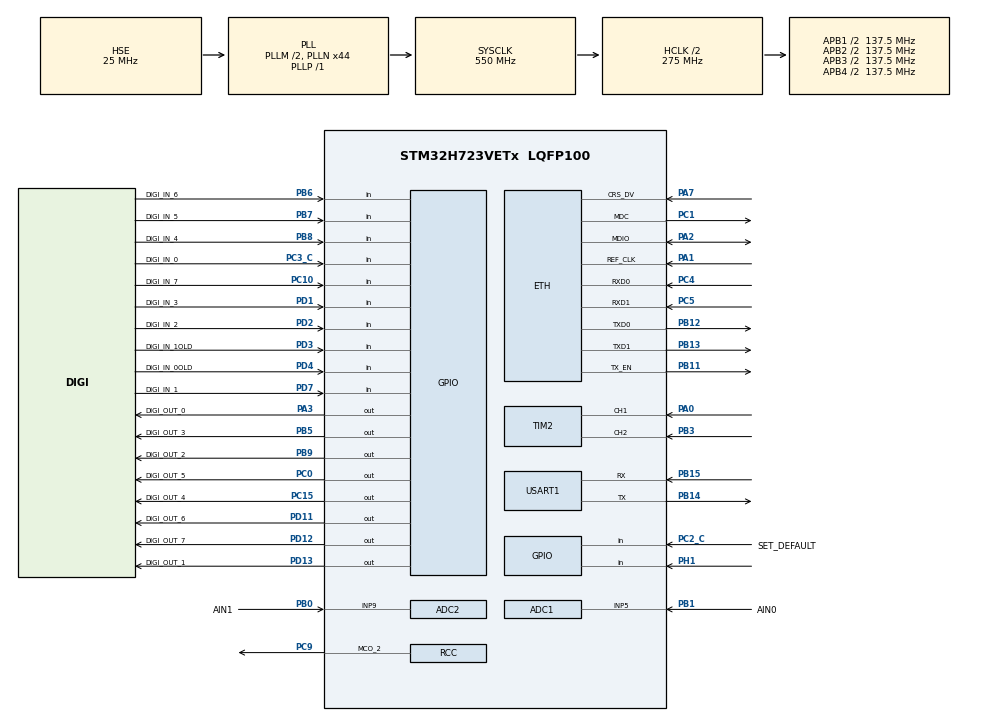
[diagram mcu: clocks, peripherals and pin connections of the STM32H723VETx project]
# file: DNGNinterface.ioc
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ADC1.Channel-2\#ChannelRegularConversion=ADC_CHANNEL_5
ADC1.ClockPrescaler=ADC_CLOCK_ASYNC_DIV4
ADC1.NbrOfConversionFlag=1
ADC1.OffsetNumber-2\#ChannelRegularConversion=ADC_OFFSET_NONE
ADC1.OffsetSignedSaturation-2\#ChannelRegularConversion=DISABLE
ADC1.Rank-2\#ChannelRegularConversion=1
ADC1.SamplingTime-2\#ChannelRegularConversion=ADC_SAMPLETIME_1CYCLE_5
ADC1.master=1
ADC2.Channel-0\#ChannelRegularConversion=ADC_CHANNEL_9
ADC2.ClockPrescaler=ADC_CLOCK_ASYNC_DIV4
ADC2.NbrOfConversionFlag=1
ADC2.OffsetNumber-0\#ChannelRegularConversion=ADC_OFFSET_NONE
ADC2.OffsetSignedSaturation-0\#ChannelRegularConversion=DISABLE
ADC2.Rank-0\#ChannelRegularConversion=1
ADC2.SamplingTime-0\#ChannelRegularConversion=ADC_SAMPLETIME_1CYCLE_5
CORTEX_M7.AccessPermission_S-Cortex_Memory_Protection_Unit_Region1_Settings_S=MPU_REGION_FULL_ACCESS
CORTEX_M7.AccessPermission_S-Cortex_Memory_Protection_Unit_Region2_Settings_S=MPU_REGION_FULL_ACCESS
CORTEX_M7.BaseAddress_S-Cortex_Memory_Protection_Unit_Region1_Settings_S=0x30000000
CORTEX_M7.BaseAddress_S-Cortex_Memory_Protection_Unit_Region2_Settings_S=0x30004000
CORTEX_M7.CPU_DCache=Enabled
CORTEX_M7.CPU_ICache=Enabled
CORTEX_M7.DisableExec_S-Cortex_Memory_Protection_Unit_Region1_Settings_S=MPU_INSTRUCTION_ACCESS_ENABLE
CORTEX_M7.DisableExec_S-Cortex_Memory_Protection_Unit_Region2_Settings_S=MPU_INSTRUCTION_ACCESS_DISABLE
CORTEX_M7.Enable_S-Cortex_Memory_Protection_Unit_Region1_Settings_S=MPU_REGION_ENABLE
CORTEX_M7.Enable_S-Cortex_Memory_Protection_Unit_Region2_Settings_S=MPU_REGION_ENABLE
CORTEX_M7.IsBufferable_S-Cortex_Memory_Protection_Unit_Region1_Settings_S=MPU_ACCESS_BUFFERABLE
CORTEX_M7.IsBufferable_S-Cortex_Memory_Protection_Unit_Region2_Settings_S=MPU_ACCESS_NOT_BUFFERABLE
CORTEX_M7.IsShareable_S-Cortex_Memory_Protection_Unit_Region2_Settings_S=MPU_ACCESS_SHAREABLE
CORTEX_M7.Size_S-Cortex_Memory_Protection_Unit_Region1_Settings_S=MPU_REGION_SIZE_1KB
CORTEX_M7.Size_S-Cortex_Memory_Protection_Unit_Region2_Settings_S=MPU_REGION_SIZE_16KB
CORTEX_M7.TypeExtField_S-Cortex_Memory_Protection_Unit_Region1_Settings_S=MPU_TEX_LEVEL1
CORTEX_M7.default_mode_Activation=1
ETH.MediaInterface=HAL_ETH_RMII_MODE
LPTIM1.ClockPrescaler=LPTIM_PRESCALER_DIV32
LPTIM5.ClockPrescaler=LPTIM_PRESCALER_DIV32
LWIP.BSP.number=1
LWIP.ETH_RX_BUFFER_CNT=10
LWIP.GATEWAY_ADDRESS=255.255.255.000
LWIP.IP_ADDRESS=192.168.002.253
LWIP.LWIP_DBG_MIN_LEVEL=LWIP_DBG_LEVEL_SERIOUS
LWIP.LWIP_DHCP=0
LWIP.LWIP_DISABLE_MEMP_SANITY_CHECKS=0
LWIP.LWIP_DISABLE_TCP_SANITY_CHECKS=0
LWIP.LWIP_HTTPD=1
LWIP.LWIP_RAM_HEAP_POINTER=0x30004000
LWIP.LWIP_TIMERS=1
LWIP.LWIP_UDP=1
LWIP.MEM_SIZE=15360
LWIP.NETMASK_ADDRESS=255.255.255.000
LWIP.Version=v2.1.2_Cube
LWIP0.BSP.STBoard=false
LWIP0.BSP.api=BSP_COMPONENT_DRIVER
LWIP0.BSP.component=LAN8742
LWIP0.BSP.instance=LAN8742
LWIP0.BSP.name=Driver_PHY
LWIP0.BSP.semaphore=S_LAN8742
LWIP0.BSP.solution=LAN8742
Mcu.Family=STM32H7
Mcu.Name=STM32H723VETx
Mcu.Package=LQFP100
NVIC.PriorityGroup=NVIC_PRIORITYGROUP_4
NVIC.TIM3_IRQn=true\:0\:0\:false\:false\:true\:true\:true\:true
NVIC.TIM5_IRQn=true\:0\:0\:false\:false\:true\:true\:true\:true
NVIC.TIM6_DAC_IRQn=true\:0\:0\:false\:false\:true\:true\:true\:true
PA0.GPIO_PuPd=GPIO_PULLDOWN
PA0.Signal=S_TIM2_CH1_ETR
PA1.GPIO_Speed=GPIO_SPEED_FREQ_VERY_HIGH
PA1.Mode=RMII
PA1.Signal=ETH_REF_CLK
PA13(JTMS/SWDIO).Mode=Serial_Wire
PA13(JTMS/SWDIO).Signal=DEBUG_JTMS-SWDIO
PA14(JTCK/SWCLK).Mode=Serial_Wire
PA14(JTCK/SWCLK).Signal=DEBUG_JTCK-SWCLK
PA2.GPIO_Speed=GPIO_SPEED_FREQ_VERY_HIGH
PA2.Mode=RMII
PA2.Signal=ETH_MDIO
PA3.GPIO_Label=DIGI_OUT_0
PA3.GPIO_PuPd=GPIO_PULLDOWN
PA3.PinState=GPIO_PIN_SET
PA3.Signal=GPIO_Output
PA7.GPIO_Speed=GPIO_SPEED_FREQ_VERY_HIGH
PA7.Mode=RMII
PA7.Signal=ETH_CRS_DV
PB0.GPIO_Label=AIN1
PB0.Signal=ADCx_INP9
PB1.GPIO_Label=AIN0
PB1.Signal=ADCx_INP5
PB10.Signal=ETH_RX_ER
PB11.GPIO_Speed=GPIO_SPEED_FREQ_VERY_HIGH
PB11.Mode=RMII
PB11.Signal=ETH_TX_EN
PB12.GPIO_Speed=GPIO_SPEED_FREQ_VERY_HIGH
PB12.Mode=RMII
PB12.Signal=ETH_TXD0
PB13.GPIO_Speed=GPIO_SPEED_FREQ_VERY_HIGH
PB13.Mode=RMII
PB13.Signal=ETH_TXD1
PB14.Mode=Asynchronous
PB14.Signal=USART1_TX
PB15.Mode=Asynchronous
PB15.Signal=USART1_RX
PB3(JTDO/TRACESWO).GPIO_PuPd=GPIO_PULLDOWN
PB3(JTDO/TRACESWO).Signal=S_TIM2_CH2
PB5.GPIO_Label=DIGI_OUT_3
PB5.GPIO_PuPd=GPIO_PULLDOWN
PB5.Signal=GPIO_Output
PB6.GPIO_Label=DIGI_IN_6
PB6.GPIO_PuPd=GPIO_PULLDOWN
PB6.Signal=GPIO_Input
PB7.GPIO_Label=DIGI_IN_5
PB7.GPIO_PuPd=GPIO_PULLDOWN
PB7.Signal=GPIO_Input
PB8.GPIO_Label=DIGI_IN_4
PB8.GPIO_PuPd=GPIO_PULLDOWN
PB8.Signal=GPIO_Input
PB9.GPIO_Label=DIGI_OUT_2
PB9.GPIO_PuPd=GPIO_PULLDOWN
PB9.Signal=GPIO_Output
PC0.GPIO_Label=DIGI_OUT_5
PC0.GPIO_PuPd=GPIO_PULLDOWN
PC0.Signal=GPIO_Output
PC1.GPIO_Speed=GPIO_SPEED_FREQ_VERY_HIGH
PC1.Mode=RMII
PC1.Signal=ETH_MDC
PC10.GPIO_Label=DIGI_IN_7
PC10.GPIO_PuPd=GPIO_PULLDOWN
PC10.Signal=GPIO_Input
PC15-OSC32_OUT.GPIO_Label=DIGI_OUT_4
PC15-OSC32_OUT.GPIO_ModeDefaultOutputPP=GPIO_MODE_OUTPUT_PP
PC15-OSC32_OUT.GPIO_PuPd=GPIO_PULLDOWN
PC15-OSC32_OUT.Signal=GPIO_Output
PC2_C.GPIO_Label=SET_DEFAULT
PC2_C.GPIO_PuPd=GPIO_PULLDOWN
PC2_C.Signal=GPIO_Input
PC3_C.GPIO_Label=DIGI_IN_0
PC3_C.GPIO_PuPd=GPIO_PULLDOWN
PC3_C.Signal=GPIO_Input
PC4.GPIO_Speed=GPIO_SPEED_FREQ_VERY_HIGH
PC4.Mode=RMII
PC4.Signal=ETH_RXD0
PC5.GPIO_Speed=GPIO_SPEED_FREQ_VERY_HIGH
PC5.Mode=RMII
PC5.Signal=ETH_RXD1
PC9.Mode=Clock-out-2
PC9.Signal=RCC_MCO_2
PD1.GPIO_Label=DIGI_IN_3
PD1.GPIO_PuPd=GPIO_PULLDOWN
PD1.Signal=GPIO_Input
PD11.GPIO_Label=DIGI_OUT_6
PD11.GPIO_PuPd=GPIO_PULLDOWN
PD11.PinState=GPIO_PIN_RESET
PD11.Signal=GPIO_Output
PD12.GPIO_Label=DIGI_OUT_7
PD12.GPIO_PuPd=GPIO_PULLDOWN
PD12.Signal=GPIO_Output
PD13.GPIO_Label=DIGI_OUT_1
PD13.GPIO_PuPd=GPIO_PULLDOWN
PD13.PinState=GPIO_PIN_SET
PD13.Signal=GPIO_Output
PD2.GPIO_Label=DIGI_IN_2
PD2.GPIO_PuPd=GPIO_PULLDOWN
PD2.Signal=GPIO_Input
PD3.GPIO_Label=DIGI_IN_1OLD
PD3.GPIO_PuPd=GPIO_PULLDOWN
PD3.Signal=GPIO_Input
PD4.GPIO_Label=DIGI_IN_0OLD
PD4.GPIO_PuPd=GPIO_PULLDOWN
PD4.Signal=GPIO_Input
PD7.GPIO_Label=DIGI_IN_1
PD7.GPIO_PuPd=GPIO_PULLDOWN
PD7.Signal=GPIO_Input
PH0-OSC_IN.Mode=HSE-External-Clock-Source
PH0-OSC_IN.Signal=RCC_OSC_IN
PH1-OSC_OUT.Signal=GPIO_Input
ProjectManager.HeapSize=0x1000
ProjectManager.StackSize=0x1000
ProjectManager.TargetToolchain=STM32CubeIDE
RCC.ADCCLockSelection=RCC_ADCCLKSOURCE_CLKP
RCC.ADCFreq_Value=64000000
RCC.APB1Freq_Value=137500000
RCC.APB2Freq_Value=137500000
RCC.APB3Freq_Value=137500000
RCC.APB4Freq_Value=137500000
RCC.CortexFreq_Value=550000000
RCC.D1PPRE=RCC_APB3_DIV2
RCC.D2PPRE1=RCC_APB1_DIV2
RCC.D2PPRE2=RCC_APB2_DIV2
RCC.D3PPRE=RCC_APB4_DIV2
RCC.DIVM1=2
RCC.DIVM2=4
RCC.DIVN1=44
RCC.DIVN2=12
RCC.DIVP1=1
RCC.HCLKFreq_Value=275000000
RCC.HPRE=RCC_HCLK_DIV2
RCC.HSE_VALUE=25000000
RCC.LPTIM1CLockSelection=RCC_LPTIM1CLKSOURCE_CLKP
RCC.LPTIM345CLockSelection=RCC_LPTIM345CLKSOURCE_CLKP
RCC.PLL1_VCO_SEL-AdvancedSettings=RCC_PLL1VCOWIDE
RCC.PLL2FRACN=0
RCC.PLL2_VCO_SEL-AdvancedSettings=RCC_PLL2VCOMEDIUM
RCC.PLL3_VCO_SEL-AdvancedSettings=RCC_PLL3VCOWIDE
RCC.PLLFRACN=0
RCC.PLLSourceVirtual=RCC_PLLSOURCE_HSE
RCC.SYSCLKFreq_VALUE=550000000
RCC.SYSCLKSource=RCC_SYSCLKSOURCE_PLLCLK
RCC.USART16CLockSelection=RCC_USART16910CLKSOURCE_HSI
RCC.USBFreq_Value=275000000
SH.ADCx_INP5.0=ADC1_INP5,IN5-Single-Ended
SH.ADCx_INP9.0=ADC2_INP9,IN9-Single-Ended
SH.S_TIM2_CH1_ETR.0=TIM2_CH1,Encoder_Interface
SH.S_TIM2_CH2.0=TIM2_CH2,Encoder_Interface
TIM3.AutoReloadPreload=TIM_AUTORELOAD_PRELOAD_ENABLE
TIM3.ClockDivision=TIM_CLOCKDIVISION_DIV1
TIM3.Period=332
TIM3.Prescaler=13749
TIM5.Period=3999
TIM5.Prescaler=68
TIM6.AutoReloadPreload=TIM_AUTORELOAD_PRELOAD_ENABLE
TIM6.Prescaler=27
USART1.VirtualMode-Asynchronous=VM_ASYNC
VP_LPTIM1_VS_LPTIM_counterModeInternalClock.Mode=Counts__internal_clock_event_00
VP_LPTIM5_VS_LPTIM_counterModeInternalClock.Mode=Counts__internal_clock_event_00
VP_LWIP_VS_Enabled.Mode=Enabled
VP_MEMORYMAP_VS_MEMORYMAP.Mode=CurAppReg
VP_PWR_V_PVD_IN.Mode=Mode_PVD_Int
VP_TIM2_VS_OPM.Mode=OPM_bit
VP_TIM3_VS_ClockSourceINT.Mode=Internal
VP_TIM5_VS_ClockSourceINT.Mode=Internal
VP_TIM6_VS_ClockSourceINT.Mode=Enable_Timer
VREF+.Mode=InternalMode
VREF+.Signal=VREFBUF_OUT
VREFBUF.VoltageScaling=SYSCFG_VREFBUF_VOLTAGE_SCALE2
board=custom

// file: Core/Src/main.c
/* USER CODE BEGIN Header */
/**
  ******************************************************************************
  * @file           : main.c
  * @brief          : Main program body
  ******************************************************************************
  * @attention
  *
  * Copyright (c) 2025 STMicroelectronics.
  * All rights reserved.
  *
  * This software is licensed under terms that can be found in the LICENSE file
  * in the root directory of this software component.
  * If no LICENSE file comes with this software, it is provided AS-IS.
  *
  ******************************************************************************
  */
/* USER CODE END Header */
#include "main.h"
#include "lwip.h"

/* USER CODE BEGIN Includes */
#include <string.h>

#include "main_loop.h"
#include "network.h"
#include "debug.h"
#include "flash_storage.h"
#include "main_loop.h"
#include "hardware.h"
#if defined(ENABLE_MQTT) || defined(ENABLE_MODBUS)
#include "F:\wxWidgets-3\demos\OpenAPC\libsmartfactory\libsmartfactory.h"
#endif
#include "oapc_libio.h"
#include "assert.h"
#include "network_mqtt.h"
#include "httpd.h"
#include "stepper.h"
/* USER CODE END Includes */

ADC_HandleTypeDef hadc1;
ADC_HandleTypeDef hadc2;

LPTIM_HandleTypeDef hlptim1;
LPTIM_HandleTypeDef hlptim5;

TIM_HandleTypeDef htim2;
TIM_HandleTypeDef htim3;
TIM_HandleTypeDef htim5;
TIM_HandleTypeDef htim6;

UART_HandleTypeDef huart1;

void SystemClock_Config(void);
void PeriphCommonClock_Config(void);
static void MPU_Config(void);
static void MX_GPIO_Init(void);
static void MX_ADC1_Init(void);
static void MX_ADC2_Init(void);
static void MX_LPTIM1_Init(void);
static void MX_LPTIM5_Init(void);
static void MX_USART1_UART_Init(void);
static void MX_TIM2_Init(void);
static void MX_TIM3_Init(void);
static void MX_TIM5_Init(void);
static void MX_TIM6_Init(void);

/* USER CODE BEGIN 0 */
static uint8_t modbus_pwm_set_cb(const uint16_t num,const uint32_t freq,const uint32_t pulse,const void *data)
{
   switch (num)
   {
      case 100:
         if (hw_pwm_set(0,freq,pulse)==HAL_OK) return 1;
         break;
      case 104:
         if (hw_pwm_set(1,freq,pulse)==HAL_OK) return 1;
         break;
   }
   return 0;
}

static uint8_t modbus_digi_set_cb(const uint16_t num,const uint8_t val,const void *data)
{
   switch (num)
   {
      case 0:
         if (val) globalState.digiOut|=0x01;
         else globalState.digiOut&=~0x01;
         break;
      case 1:
         if (val) globalState.digiOut|=0x02;
         else globalState.digiOut&=~0x02;
         break;
      case 2:
         if (val) globalState.digiOut|=0x04;
         else globalState.digiOut&=~0x04;
         break;
      case 3:
         if (val) globalState.digiOut|=0x08;
         else globalState.digiOut&=~0x08;
         break;
      case 4:
         if (val) globalState.digiOut|=0x10;
         else globalState.digiOut&=~0x10;
         break;
      case 5:
         if (val) globalState.digiOut|=0x20;
         else globalState.digiOut&=~0x20;
         break;
      case 6:
         if (val) globalState.digiOut|=0x40;
         else globalState.digiOut&=~0x40;
         break;
      case 7:
         if (val) globalState.digiOut|=0x80;
         else globalState.digiOut&=~0x80;
         break;
      default:
         return 0;
   }
   hw_gpio_set(globalState.digiOut);
   return 1;
}

static uint8_t modbus_digi_get_cb(const uint16_t num,uint8_t *val,const void *data)
{
   switch (num)
   {
      case 0:
         if ((globalState.digiOut & 0x01)==0x01) *val=1;
         else *val=0;
         break;
      case 1:
         if ((globalState.digiOut & 0x02)==0x02) *val=1;
         else *val=0;
         break;
      case 2:
         if ((globalState.digiOut & 0x04)==0x04) *val=1;
         else *val=0;
         break;
      case 3:
         if ((globalState.digiOut & 0x08)==0x08) *val=1;
         else *val=0;
         break;
      case 4:
         if ((globalState.digiOut & 0x10)==0x10) *val=1;
         else *val=0;
         break;
      case 5:
         if ((globalState.digiOut & 0x20)==0x20) *val=1;
         else *val=0;
         break;
      case 6:
         if ((globalState.digiOut & 0x40)==0x40) *val=1;
         else *val=0;
         break;
      case 7:
         if ((globalState.digiOut & 0x80)==0x80) *val=1;
         else *val=0;
         break;

      case 10000:
         if ((globalState.digiINState & 0x01)==0x01) *val=1;
         else *val=0;
         break;
      case 10001:
         if ((globalState.digiINState & 0x02)==0x02) *val=1;
         else *val=0;
         break;
      case 10002:
         if ((globalState.digiINState & 0x04)==0x04) *val=1;
         else *val=0;
         break;
      case 10003:
         if ((globalState.digiINState & 0x08)==0x08) *val=1;
         else *val=0;
         break;
      case 10004:
         if ((globalState.digiINState & 0x10)==0x10) *val=1;
         else *val=0;
         break;
      case 10005:
         if ((globalState.digiINState & 0x20)==0x20) *val=1;
         else *val=0;
         break;
      case 10006:
         if ((globalState.digiINState & 0x40)==0x40) *val=1;
         else *val=0;
         break;
      case 10007:
         if ((globalState.digiINState & 0x80)==0x80) *val=1;
         else *val=0;
         break;
      default:
         return 0;
   }
   return 1;
}

static uint8_t modbus_ana_get_cb(const uint16_t num,uint16_t *val,const void *data)
{
   switch (num)
   {
      case 0:
         *val=globalState.ain0state;
         break;
      case 1:
         *val=globalState.ain1state;
         break;
      default:
         return 0;
   }
   return 1;
}

/* USER CODE END 0 */

int main(void)
{

  /* MPU Configuration--------------------------------------------------------*/
  MPU_Config();

  /* Enable the CPU Cache */

  /* Enable I-Cache---------------------------------------------------------*/
  SCB_EnableICache();

  /* Enable D-Cache---------------------------------------------------------*/
  SCB_EnableDCache();

  /* MCU Configuration--------------------------------------------------------*/

  /* Reset of all peripherals, Initializes the Flash interface and the Systick. */
  HAL_Init();

  /* Configure the system clock */
  SystemClock_Config();

  /* Configure the peripherals common clocks */
  PeriphCommonClock_Config();

  /* Initialize all configured peripherals */
  MX_GPIO_Init();
  MX_ADC1_Init();
  MX_ADC2_Init();
  MX_LPTIM1_Init();
  MX_LPTIM5_Init();
  MX_USART1_UART_Init();
  MX_TIM2_Init();
  MX_TIM3_Init();
  MX_TIM5_Init();
  MX_TIM6_Init();
  /* USER CODE BEGIN 2 */
  logInit();

   {
      struct global_config *loadConfig;

      loadConfig=(struct global_config*)Flash_Storage_Read(sizeof(struct global_config),CONFIG_STRUCT_ID);
      if ((loadConfig) && (loadConfig->id==CONFIG_STRUCT_ID) && (loadConfig->ana0fac>0) && (loadConfig->ana1fac>0))
      {
         memcpy(&globalConfig,loadConfig,sizeof(struct global_config));
      }
   }
   if (HAL_GPIO_ReadPin(SET_DEFAULT_GPIO_Port,SET_DEFAULT_Pin)==GPIO_PIN_SET) // restore: keep the settings except the IP
   {
      globalConfig.ip.addr=STATIC_IP_ADDRESS_PORT1;
      globalConfig.gw.addr=STATIC_GW_ADDRESS_PORT1;
      globalConfig.nm.addr=STATIC_NM_ADDRESS_PORT1;
   }
   globalState.digiOut=globalConfig.digiInit;
   hw_gpio_set(globalState.digiOut);
   MX_LWIP_Init();

#ifdef ENABLE_TELNET
  if ((globalConfig.flags & CONFIG_FLAG_DISABLE_TELNET)==0)
   network1_init();
#endif
#ifdef ENABLE_MODBUS
  if ((globalConfig.flags & CONFIG_FLAG_DISABLE_MODBUS)==0)
  {
     globalState.MODBUSInst=sf_modbus_create_instance(0,globalConfig.rwip);
     if (globalState.MODBUSInst)
     {
        if (sf_modbus_open_connections(globalState.MODBUSInst)!=OAPC_OK)
        {
           logpf(true,"MODBUS init failed");
        }
        else
        {
           sf_modbus_set_digi_set_callback(globalState.MODBUSInst,modbus_digi_set_cb,NULL);
           sf_modbus_set_pwm_set_callback(globalState.MODBUSInst,modbus_pwm_set_cb,NULL);
           sf_modbus_set_digi_get_callback(globalState.MODBUSInst,modbus_digi_get_cb,NULL);
           sf_modbus_set_ana_get_callback(globalState.MODBUSInst,modbus_ana_get_cb,NULL);
        }
     }
  }
#endif
#ifdef ENABLE_MQTT
  snprintf(globalState.mqttMachineID,20,"%ld.%ld.%ld.%ld",(globalConfig.ip.addr & 0xFF000000)>>24,
                                                      (globalConfig.ip.addr & 0x00FF0000)>>16,
                                                      (globalConfig.ip.addr & 0x0000FF00)>>8,
                                                      (globalConfig.ip.addr & 0x000000FF)
                                                      );
  if ((globalConfig.flags & CONFIG_FLAG_DISABLE_MQTT)==0)
  {

     if (!lib_mqtt_start(globalConfig.mqttIP,globalConfig.mqttPort,globalState.mqttMachineID,globalConfig.mqttUser,globalConfig.mqttPwd))
     {
        logpf(true,"Initial MQTT connect failed");
     }
  }
#endif
#ifdef ENABLE_REST
  httpd_init();
#endif
  HAL_ADCEx_Calibration_Start(&hadc1,ADC_CALIB_OFFSET_LINEARITY,ADC_SINGLE_ENDED);
  HAL_ADCEx_Calibration_Start(&hadc2,ADC_CALIB_OFFSET_LINEARITY,ADC_SINGLE_ENDED);

  HAL_ADCEx_Calibration_Start(&hadc1,ADC_CALIB_OFFSET,ADC_SINGLE_ENDED);
  HAL_ADCEx_Calibration_Start(&hadc2,ADC_CALIB_OFFSET,ADC_SINGLE_ENDED);
  /* todo: repeat it later from time to time "when conditions change" */

  HAL_ADC_Start(&hadc1);
  HAL_ADC_Start(&hadc2);
  /* USER CODE END 2 */

  /* Infinite loop */
  /* USER CODE BEGIN WHILE */
  stepper_init();
  main_loop();
  while (1)
  {
    /* USER CODE END WHILE */

  }
}

void SystemClock_Config(void)
{
  RCC_OscInitTypeDef RCC_OscInitStruct = {0};
  RCC_ClkInitTypeDef RCC_ClkInitStruct = {0};

  /** Supply configuration update enable
  */
  HAL_PWREx_ConfigSupply(PWR_LDO_SUPPLY);

  /** Configure the main internal regulator output voltage
  */
  __HAL_PWR_VOLTAGESCALING_CONFIG(PWR_REGULATOR_VOLTAGE_SCALE0);

  while(!__HAL_PWR_GET_FLAG(PWR_FLAG_VOSRDY)) {}

  /** Initializes the RCC Oscillators according to the specified parameters
  * in the RCC_OscInitTypeDef structure.
  */
  RCC_OscInitStruct.OscillatorType = RCC_OSCILLATORTYPE_HSI|RCC_OSCILLATORTYPE_HSE;
  RCC_OscInitStruct.HSEState = RCC_HSE_BYPASS;
  RCC_OscInitStruct.HSIState = RCC_HSI_DIV1;
  RCC_OscInitStruct.HSICalibrationValue = 64;
  RCC_OscInitStruct.PLL.PLLState = RCC_PLL_ON;
  RCC_OscInitStruct.PLL.PLLSource = RCC_PLLSOURCE_HSE;
  RCC_OscInitStruct.PLL.PLLM = 2;
  RCC_OscInitStruct.PLL.PLLN = 44;
  RCC_OscInitStruct.PLL.PLLP = 1;
  RCC_OscInitStruct.PLL.PLLQ = 2;
  RCC_OscInitStruct.PLL.PLLR = 2;
  RCC_OscInitStruct.PLL.PLLRGE = RCC_PLL1VCIRANGE_3;
  RCC_OscInitStruct.PLL.PLLVCOSEL = RCC_PLL1VCOWIDE;
  RCC_OscInitStruct.PLL.PLLFRACN = 0;
  if (HAL_RCC_OscConfig(&RCC_OscInitStruct) != HAL_OK)
  {
    Error_Handler();
  }

  /** Initializes the CPU, AHB and APB buses clocks
  */
  RCC_ClkInitStruct.ClockType = RCC_CLOCKTYPE_HCLK|RCC_CLOCKTYPE_SYSCLK
                              |RCC_CLOCKTYPE_PCLK1|RCC_CLOCKTYPE_PCLK2
                              |RCC_CLOCKTYPE_D3PCLK1|RCC_CLOCKTYPE_D1PCLK1;
  RCC_ClkInitStruct.SYSCLKSource = RCC_SYSCLKSOURCE_PLLCLK;
  RCC_ClkInitStruct.SYSCLKDivider = RCC_SYSCLK_DIV1;
  RCC_ClkInitStruct.AHBCLKDivider = RCC_HCLK_DIV2;
  RCC_ClkInitStruct.APB3CLKDivider = RCC_APB3_DIV2;
  RCC_ClkInitStruct.APB1CLKDivider = RCC_APB1_DIV2;
  RCC_ClkInitStruct.APB2CLKDivider = RCC_APB2_DIV2;
  RCC_ClkInitStruct.APB4CLKDivider = RCC_APB4_DIV2;

  if (HAL_RCC_ClockConfig(&RCC_ClkInitStruct, FLASH_LATENCY_3) != HAL_OK)
  {
    Error_Handler();
  }
  HAL_RCC_MCOConfig(RCC_MCO2, RCC_MCO2SOURCE_SYSCLK, RCC_MCODIV_1);
}

void PeriphCommonClock_Config(void)
{
  RCC_PeriphCLKInitTypeDef PeriphClkInitStruct = {0};

  /** Initializes the peripherals clock
  */
  PeriphClkInitStruct.PeriphClockSelection = RCC_PERIPHCLK_CKPER;
  PeriphClkInitStruct.CkperClockSelection = RCC_CLKPSOURCE_HSI;
  if (HAL_RCCEx_PeriphCLKConfig(&PeriphClkInitStruct) != HAL_OK)
  {
    Error_Handler();
  }
}

static void MX_ADC1_Init(void)
{

  ADC_MultiModeTypeDef multimode = {0};
  ADC_ChannelConfTypeDef sConfig = {0};

  /** Common config
  */
  hadc1.Instance = ADC1;
  hadc1.Init.ClockPrescaler = ADC_CLOCK_ASYNC_DIV4;
  hadc1.Init.Resolution = ADC_RESOLUTION_16B;
  hadc1.Init.ScanConvMode = ADC_SCAN_DISABLE;
  hadc1.Init.EOCSelection = ADC_EOC_SINGLE_CONV;
  hadc1.Init.LowPowerAutoWait = DISABLE;
  hadc1.Init.ContinuousConvMode = DISABLE;
  hadc1.Init.NbrOfConversion = 1;
  hadc1.Init.DiscontinuousConvMode = DISABLE;
  hadc1.Init.ExternalTrigConv = ADC_SOFTWARE_START;
  hadc1.Init.ExternalTrigConvEdge = ADC_EXTERNALTRIGCONVEDGE_NONE;
  hadc1.Init.ConversionDataManagement = ADC_CONVERSIONDATA_DR;
  hadc1.Init.Overrun = ADC_OVR_DATA_PRESERVED;
  hadc1.Init.LeftBitShift = ADC_LEFTBITSHIFT_NONE;
  hadc1.Init.OversamplingMode = DISABLE;
  hadc1.Init.Oversampling.Ratio = 1;
  if (HAL_ADC_Init(&hadc1) != HAL_OK)
  {
    Error_Handler();
  }

  /** Configure the ADC multi-mode
  */
  multimode.Mode = ADC_MODE_INDEPENDENT;
  if (HAL_ADCEx_MultiModeConfigChannel(&hadc1, &multimode) != HAL_OK)
  {
    Error_Handler();
  }

  /** Configure Regular Channel
  */
  sConfig.Channel = ADC_CHANNEL_5;
  sConfig.Rank = ADC_REGULAR_RANK_1;
  sConfig.SamplingTime = ADC_SAMPLETIME_1CYCLE_5;
  sConfig.SingleDiff = ADC_SINGLE_ENDED;
  sConfig.OffsetNumber = ADC_OFFSET_NONE;
  sConfig.Offset = 0;
  sConfig.OffsetSignedSaturation = DISABLE;
  if (HAL_ADC_ConfigChannel(&hadc1, &sConfig) != HAL_OK)
  {
    Error_Handler();
  }

}

static void MX_ADC2_Init(void)
{

  ADC_ChannelConfTypeDef sConfig = {0};

  /** Common config
  */
  hadc2.Instance = ADC2;
  hadc2.Init.ClockPrescaler = ADC_CLOCK_ASYNC_DIV4;
  hadc2.Init.Resolution = ADC_RESOLUTION_16B;
  hadc2.Init.ScanConvMode = ADC_SCAN_DISABLE;
  hadc2.Init.EOCSelection = ADC_EOC_SINGLE_CONV;
  hadc2.Init.LowPowerAutoWait = DISABLE;
  hadc2.Init.ContinuousConvMode = DISABLE;
  hadc2.Init.NbrOfConversion = 1;
  hadc2.Init.DiscontinuousConvMode = DISABLE;
  hadc2.Init.ExternalTrigConv = ADC_SOFTWARE_START;
  hadc2.Init.ExternalTrigConvEdge = ADC_EXTERNALTRIGCONVEDGE_NONE;
  hadc2.Init.ConversionDataManagement = ADC_CONVERSIONDATA_DR;
  hadc2.Init.Overrun = ADC_OVR_DATA_PRESERVED;
  hadc2.Init.LeftBitShift = ADC_LEFTBITSHIFT_NONE;
  hadc2.Init.OversamplingMode = DISABLE;
  hadc2.Init.Oversampling.Ratio = 1;
  if (HAL_ADC_Init(&hadc2) != HAL_OK)
  {
    Error_Handler();
  }

  /** Configure Regular Channel
  */
  sConfig.Channel = ADC_CHANNEL_9;
  sConfig.Rank = ADC_REGULAR_RANK_1;
  sConfig.SamplingTime = ADC_SAMPLETIME_1CYCLE_5;
  sConfig.SingleDiff = ADC_SINGLE_ENDED;
  sConfig.OffsetNumber = ADC_OFFSET_NONE;
  sConfig.Offset = 0;
  sConfig.OffsetSignedSaturation = DISABLE;
  if (HAL_ADC_ConfigChannel(&hadc2, &sConfig) != HAL_OK)
  {
    Error_Handler();
  }

}

static void MX_LPTIM1_Init(void)
{

  hlptim1.Instance = LPTIM1;
  hlptim1.Init.Clock.Source = LPTIM_CLOCKSOURCE_APBCLOCK_LPOSC;
  hlptim1.Init.Clock.Prescaler = LPTIM_PRESCALER_DIV32;
  hlptim1.Init.Trigger.Source = LPTIM_TRIGSOURCE_SOFTWARE;
  hlptim1.Init.OutputPolarity = LPTIM_OUTPUTPOLARITY_HIGH;
  hlptim1.Init.UpdateMode = LPTIM_UPDATE_IMMEDIATE;
  hlptim1.Init.CounterSource = LPTIM_COUNTERSOURCE_INTERNAL;
  hlptim1.Init.Input1Source = LPTIM_INPUT1SOURCE_GPIO;
  hlptim1.Init.Input2Source = LPTIM_INPUT2SOURCE_GPIO;
  if (HAL_LPTIM_Init(&hlptim1) != HAL_OK)
  {
    Error_Handler();
  }

}

static void MX_LPTIM5_Init(void)
{

  hlptim5.Instance = LPTIM5;
  hlptim5.Init.Clock.Source = LPTIM_CLOCKSOURCE_APBCLOCK_LPOSC;
  hlptim5.Init.Clock.Prescaler = LPTIM_PRESCALER_DIV32;
  hlptim5.Init.Trigger.Source = LPTIM_TRIGSOURCE_SOFTWARE;
  hlptim5.Init.OutputPolarity = LPTIM_OUTPUTPOLARITY_HIGH;
  hlptim5.Init.UpdateMode = LPTIM_UPDATE_IMMEDIATE;
  hlptim5.Init.CounterSource = LPTIM_COUNTERSOURCE_INTERNAL;
  if (HAL_LPTIM_Init(&hlptim5) != HAL_OK)
  {
    Error_Handler();
  }

}

static void MX_TIM2_Init(void)
{

  TIM_Encoder_InitTypeDef sConfig = {0};
  TIM_MasterConfigTypeDef sMasterConfig = {0};

  htim2.Instance = TIM2;
  htim2.Init.Prescaler = 0;
  htim2.Init.CounterMode = TIM_COUNTERMODE_UP;
  htim2.Init.Period = 4294967295;
  htim2.Init.ClockDivision = TIM_CLOCKDIVISION_DIV1;
  htim2.Init.AutoReloadPreload = TIM_AUTORELOAD_PRELOAD_DISABLE;
  sConfig.EncoderMode = TIM_ENCODERMODE_TI1;
  sConfig.IC1Polarity = TIM_ICPOLARITY_RISING;
  sConfig.IC1Selection = TIM_ICSELECTION_DIRECTTI;
  sConfig.IC1Prescaler = TIM_ICPSC_DIV1;
  sConfig.IC1Filter = 0;
  sConfig.IC2Polarity = TIM_ICPOLARITY_RISING;
  sConfig.IC2Selection = TIM_ICSELECTION_DIRECTTI;
  sConfig.IC2Prescaler = TIM_ICPSC_DIV1;
  sConfig.IC2Filter = 0;
  if (HAL_TIM_Encoder_Init(&htim2, &sConfig) != HAL_OK)
  {
    Error_Handler();
  }
  if (HAL_TIM_OnePulse_Init(&htim2, TIM_OPMODE_SINGLE) != HAL_OK)
  {
    Error_Handler();
  }
  sMasterConfig.MasterOutputTrigger = TIM_TRGO_RESET;
  sMasterConfig.MasterSlaveMode = TIM_MASTERSLAVEMODE_DISABLE;
  if (HAL_TIMEx_MasterConfigSynchronization(&htim2, &sMasterConfig) != HAL_OK)
  {
    Error_Handler();
  }

}

static void MX_TIM3_Init(void)
{

  TIM_ClockConfigTypeDef sClockSourceConfig = {0};
  TIM_MasterConfigTypeDef sMasterConfig = {0};

  htim3.Instance = TIM3;
  htim3.Init.Prescaler = 13749;
  htim3.Init.CounterMode = TIM_COUNTERMODE_UP;
  htim3.Init.Period = 332;
  htim3.Init.ClockDivision = TIM_CLOCKDIVISION_DIV1;
  htim3.Init.AutoReloadPreload = TIM_AUTORELOAD_PRELOAD_ENABLE;
  if (HAL_TIM_Base_Init(&htim3) != HAL_OK)
  {
    Error_Handler();
  }
  sClockSourceConfig.ClockSource = TIM_CLOCKSOURCE_INTERNAL;
  if (HAL_TIM_ConfigClockSource(&htim3, &sClockSourceConfig) != HAL_OK)
  {
    Error_Handler();
  }
  sMasterConfig.MasterOutputTrigger = TIM_TRGO_RESET;
  sMasterConfig.MasterSlaveMode = TIM_MASTERSLAVEMODE_DISABLE;
  if (HAL_TIMEx_MasterConfigSynchronization(&htim3, &sMasterConfig) != HAL_OK)
  {
    Error_Handler();
  }

}

static void MX_TIM5_Init(void)
{

  TIM_ClockConfigTypeDef sClockSourceConfig = {0};
  TIM_MasterConfigTypeDef sMasterConfig = {0};

  htim5.Instance = TIM5;
  htim5.Init.Prescaler = 68;
  htim5.Init.CounterMode = TIM_COUNTERMODE_UP;
  htim5.Init.Period = 3999;
  htim5.Init.ClockDivision = TIM_CLOCKDIVISION_DIV1;
  htim5.Init.AutoReloadPreload = TIM_AUTORELOAD_PRELOAD_DISABLE;
  if (HAL_TIM_Base_Init(&htim5) != HAL_OK)
  {
    Error_Handler();
  }
  sClockSourceConfig.ClockSource = TIM_CLOCKSOURCE_INTERNAL;
  if (HAL_TIM_ConfigClockSource(&htim5, &sClockSourceConfig) != HAL_OK)
  {
    Error_Handler();
  }
  sMasterConfig.MasterOutputTrigger = TIM_TRGO_RESET;
  sMasterConfig.MasterSlaveMode = TIM_MASTERSLAVEMODE_DISABLE;
  if (HAL_TIMEx_MasterConfigSynchronization(&htim5, &sMasterConfig) != HAL_OK)
  {
    Error_Handler();
  }

}

static void MX_TIM6_Init(void)
{

  TIM_MasterConfigTypeDef sMasterConfig = {0};

  htim6.Instance = TIM6;
  htim6.Init.Prescaler = 27;
  htim6.Init.CounterMode = TIM_COUNTERMODE_UP;
  htim6.Init.Period = 65535;
  htim6.Init.AutoReloadPreload = TIM_AUTORELOAD_PRELOAD_ENABLE;
  if (HAL_TIM_Base_Init(&htim6) != HAL_OK)
  {
    Error_Handler();
  }
  sMasterConfig.MasterOutputTrigger = TIM_TRGO_RESET;
  sMasterConfig.MasterSlaveMode = TIM_MASTERSLAVEMODE_DISABLE;
  if (HAL_TIMEx_MasterConfigSynchronization(&htim6, &sMasterConfig) != HAL_OK)
  {
    Error_Handler();
  }

}

static void MX_USART1_UART_Init(void)
{

  huart1.Instance = USART1;
  huart1.Init.BaudRate = 115200;
  huart1.Init.WordLength = UART_WORDLENGTH_8B;
  huart1.Init.StopBits = UART_STOPBITS_1;
  huart1.Init.Parity = UART_PARITY_NONE;
  huart1.Init.Mode = UART_MODE_TX_RX;
  huart1.Init.HwFlowCtl = UART_HWCONTROL_NONE;
  huart1.Init.OverSampling = UART_OVERSAMPLING_16;
  huart1.Init.OneBitSampling = UART_ONE_BIT_SAMPLE_DISABLE;
  huart1.Init.ClockPrescaler = UART_PRESCALER_DIV1;
  huart1.AdvancedInit.AdvFeatureInit = UART_ADVFEATURE_NO_INIT;
  if (HAL_UART_Init(&huart1) != HAL_OK)
  {
    Error_Handler();
  }
  if (HAL_UARTEx_SetTxFifoThreshold(&huart1, UART_TXFIFO_THRESHOLD_1_8) != HAL_OK)
  {
    Error_Handler();
  }
  if (HAL_UARTEx_SetRxFifoThreshold(&huart1, UART_RXFIFO_THRESHOLD_1_8) != HAL_OK)
  {
    Error_Handler();
  }
  if (HAL_UARTEx_DisableFifoMode(&huart1) != HAL_OK)
  {
    Error_Handler();
  }

}

static void MX_GPIO_Init(void)
{
  GPIO_InitTypeDef GPIO_InitStruct = {0};

  /* GPIO Ports Clock Enable */
  __HAL_RCC_GPIOE_CLK_ENABLE();
  __HAL_RCC_GPIOC_CLK_ENABLE();
  __HAL_RCC_GPIOH_CLK_ENABLE();
  __HAL_RCC_GPIOA_CLK_ENABLE();
  __HAL_RCC_GPIOB_CLK_ENABLE();
  __HAL_RCC_GPIOD_CLK_ENABLE();

  /*Configure GPIO pin Output Level */
  HAL_GPIO_WritePin(GPIOC, DIGI_OUT_4_Pin|DIGI_OUT_5_Pin, GPIO_PIN_RESET);

  /*Configure GPIO pin Output Level */
  HAL_GPIO_WritePin(DIGI_OUT_0_GPIO_Port, DIGI_OUT_0_Pin, GPIO_PIN_SET);

  /*Configure GPIO pin Output Level */
  HAL_GPIO_WritePin(GPIOD, DIGI_OUT_6_Pin|DIGI_OUT_7_Pin, GPIO_PIN_RESET);
  HAL_GPIO_WritePin(GPIOD, DIGI_OUT_1_Pin, GPIO_PIN_SET);

  /*Configure GPIO pin Output Level */
  HAL_GPIO_WritePin(GPIOB, DIGI_OUT_3_Pin|DIGI_OUT_2_Pin, GPIO_PIN_RESET);

  /*Configure GPIO pins : PE2 PE3 PE4 PE5
                           PE6 PE7 PE8 PE9
                           PE10 PE11 PE12 PE13
                           PE14 PE15 PE0 PE1 */
  GPIO_InitStruct.Pin = GPIO_PIN_2|GPIO_PIN_3|GPIO_PIN_4|GPIO_PIN_5
                          |GPIO_PIN_6|GPIO_PIN_7|GPIO_PIN_8|GPIO_PIN_9
                          |GPIO_PIN_10|GPIO_PIN_11|GPIO_PIN_12|GPIO_PIN_13
                          |GPIO_PIN_14|GPIO_PIN_15|GPIO_PIN_0|GPIO_PIN_1;
  GPIO_InitStruct.Mode = GPIO_MODE_ANALOG;
  GPIO_InitStruct.Pull = GPIO_NOPULL;
  HAL_GPIO_Init(GPIOE, &GPIO_InitStruct);

  /*Configure GPIO pins : PC13 PC14 PC6 PC7
                           PC8 PC11 PC12 */
  GPIO_InitStruct.Pin = GPIO_PIN_13|GPIO_PIN_14|GPIO_PIN_6|GPIO_PIN_7
                          |GPIO_PIN_8|GPIO_PIN_11|GPIO_PIN_12;
  GPIO_InitStruct.Mode = GPIO_MODE_ANALOG;
  GPIO_InitStruct.Pull = GPIO_NOPULL;
  HAL_GPIO_Init(GPIOC, &GPIO_InitStruct);

  /*Configure GPIO pins : DIGI_OUT_4_Pin DIGI_OUT_5_Pin */
  GPIO_InitStruct.Pin = DIGI_OUT_4_Pin|DIGI_OUT_5_Pin;
  GPIO_InitStruct.Mode = GPIO_MODE_OUTPUT_PP;
  GPIO_InitStruct.Pull = GPIO_PULLDOWN;
  GPIO_InitStruct.Speed = GPIO_SPEED_FREQ_LOW;
  HAL_GPIO_Init(GPIOC, &GPIO_InitStruct);

  /*Configure GPIO pin : PH1 */
  GPIO_InitStruct.Pin = GPIO_PIN_1;
  GPIO_InitStruct.Mode = GPIO_MODE_INPUT;
  GPIO_InitStruct.Pull = GPIO_NOPULL;
  HAL_GPIO_Init(GPIOH, &GPIO_InitStruct);

  /*Configure GPIO pins : SET_DEFAULT_Pin DIGI_IN_0_Pin DIGI_IN_7_Pin */
  GPIO_InitStruct.Pin = SET_DEFAULT_Pin|DIGI_IN_0_Pin|DIGI_IN_7_Pin;
  GPIO_InitStruct.Mode = GPIO_MODE_INPUT;
  GPIO_InitStruct.Pull = GPIO_PULLDOWN;
  HAL_GPIO_Init(GPIOC, &GPIO_InitStruct);

  /*Configure GPIO pin : DIGI_OUT_0_Pin */
  hw_init_digi_out_0();

  /*Configure GPIO pins : PA4 PA5 PA6 PA8
                           PA9 PA10 PA11 PA12
                           PA15 */
  GPIO_InitStruct.Pin = GPIO_PIN_4|GPIO_PIN_5|GPIO_PIN_6|GPIO_PIN_8
                          |GPIO_PIN_9|GPIO_PIN_10|GPIO_PIN_11|GPIO_PIN_12
                          |GPIO_PIN_15;
  GPIO_InitStruct.Mode = GPIO_MODE_ANALOG;
  GPIO_InitStruct.Pull = GPIO_NOPULL;
  HAL_GPIO_Init(GPIOA, &GPIO_InitStruct);

  /*Configure GPIO pins : PB2 PB4 */
  GPIO_InitStruct.Pin = GPIO_PIN_2|GPIO_PIN_4;
  GPIO_InitStruct.Mode = GPIO_MODE_ANALOG;
  GPIO_InitStruct.Pull = GPIO_NOPULL;
  HAL_GPIO_Init(GPIOB, &GPIO_InitStruct);

  /*Configure GPIO pins : PD8 PD9 PD10 PD14
                           PD15 PD0 PD5 PD6 */
  GPIO_InitStruct.Pin = GPIO_PIN_8|GPIO_PIN_9|GPIO_PIN_10|GPIO_PIN_14
                          |GPIO_PIN_15|GPIO_PIN_0|GPIO_PIN_5|GPIO_PIN_6;
  GPIO_InitStruct.Mode = GPIO_MODE_ANALOG;
  GPIO_InitStruct.Pull = GPIO_NOPULL;
  HAL_GPIO_Init(GPIOD, &GPIO_InitStruct);

  /*Configure GPIO pins : DIGI_OUT_6_Pin DIGI_OUT_7_Pin DIGI_OUT_1_Pin */
  hw_init_digi_out_1_6_7();

  /*Configure GPIO pin : PC9 */
  GPIO_InitStruct.Pin = GPIO_PIN_9;
  GPIO_InitStruct.Mode = GPIO_MODE_AF_PP;
  GPIO_InitStruct.Pull = GPIO_NOPULL;
  GPIO_InitStruct.Speed = GPIO_SPEED_FREQ_LOW;
  GPIO_InitStruct.Alternate = GPIO_AF0_MCO;
  HAL_GPIO_Init(GPIOC, &GPIO_InitStruct);

  /*Configure GPIO pins : DIGI_IN_3_Pin DIGI_IN_2_Pin DIGI_IN_1OLD_Pin DIGI_IN_0OLD_Pin
                           DIGI_IN_1_Pin */
  GPIO_InitStruct.Pin = DIGI_IN_3_Pin|DIGI_IN_2_Pin|DIGI_IN_1OLD_Pin|DIGI_IN_0OLD_Pin
                          |DIGI_IN_1_Pin;
  GPIO_InitStruct.Mode = GPIO_MODE_INPUT;
  GPIO_InitStruct.Pull = GPIO_PULLDOWN;
  HAL_GPIO_Init(GPIOD, &GPIO_InitStruct);

  /*Configure GPIO pins : DIGI_OUT_3_Pin DIGI_OUT_2_Pin */
  GPIO_InitStruct.Pin = DIGI_OUT_3_Pin|DIGI_OUT_2_Pin;
  GPIO_InitStruct.Mode = GPIO_MODE_OUTPUT_PP;
  GPIO_InitStruct.Pull = GPIO_PULLDOWN;
  GPIO_InitStruct.Speed = GPIO_SPEED_FREQ_LOW;
  HAL_GPIO_Init(GPIOB, &GPIO_InitStruct);

  /*Configure GPIO pins : DIGI_IN_6_Pin DIGI_IN_5_Pin DIGI_IN_4_Pin */
  GPIO_InitStruct.Pin = DIGI_IN_6_Pin|DIGI_IN_5_Pin|DIGI_IN_4_Pin;
  GPIO_InitStruct.Mode = GPIO_MODE_INPUT;
  GPIO_InitStruct.Pull = GPIO_PULLDOWN;
  HAL_GPIO_Init(GPIOB, &GPIO_InitStruct);

}

 /* MPU Configuration */

void MPU_Config(void)
{
  MPU_Region_InitTypeDef MPU_InitStruct = {0};

  /* Disables the MPU */
  HAL_MPU_Disable();

  /** Initializes and configures the Region and the memory to be protected
  */
  MPU_InitStruct.Enable = MPU_REGION_ENABLE;
  MPU_InitStruct.Number = MPU_REGION_NUMBER0;
  MPU_InitStruct.BaseAddress = 0x0;
  MPU_InitStruct.Size = MPU_REGION_SIZE_4GB;
  MPU_InitStruct.SubRegionDisable = 0x87;
  MPU_InitStruct.TypeExtField = MPU_TEX_LEVEL0;
  MPU_InitStruct.AccessPermission = MPU_REGION_NO_ACCESS;
  MPU_InitStruct.DisableExec = MPU_INSTRUCTION_ACCESS_DISABLE;
  MPU_InitStruct.IsShareable = MPU_ACCESS_SHAREABLE;
  MPU_InitStruct.IsCacheable = MPU_ACCESS_NOT_CACHEABLE;
  MPU_InitStruct.IsBufferable = MPU_ACCESS_NOT_BUFFERABLE;

  HAL_MPU_ConfigRegion(&MPU_InitStruct);

  /** Initializes and configures the Region and the memory to be protected
  */
  MPU_InitStruct.Number = MPU_REGION_NUMBER1;
  MPU_InitStruct.BaseAddress = 0x30000000;
  MPU_InitStruct.Size = MPU_REGION_SIZE_1KB;
  MPU_InitStruct.SubRegionDisable = 0x0;
  MPU_InitStruct.AccessPermission = MPU_REGION_FULL_ACCESS;
  MPU_InitStruct.DisableExec = MPU_INSTRUCTION_ACCESS_ENABLE;
  MPU_InitStruct.IsShareable = MPU_ACCESS_NOT_SHAREABLE;
  MPU_InitStruct.IsBufferable = MPU_ACCESS_BUFFERABLE;

  HAL_MPU_ConfigRegion(&MPU_InitStruct);

  /** Initializes and configures the Region and the memory to be protected
  */
  MPU_InitStruct.Number = MPU_REGION_NUMBER2;
  MPU_InitStruct.BaseAddress = 0x30004000;
  MPU_InitStruct.Size = MPU_REGION_SIZE_16KB;
  MPU_InitStruct.TypeExtField = MPU_TEX_LEVEL1;
  MPU_InitStruct.IsShareable = MPU_ACCESS_SHAREABLE;
  MPU_InitStruct.IsBufferable = MPU_ACCESS_NOT_BUFFERABLE;

  HAL_MPU_ConfigRegion(&MPU_InitStruct);
  /* Enables the MPU */
  HAL_MPU_Enable(MPU_PRIVILEGED_DEFAULT);

}

void Error_Handler(void)
{
  __disable_irq();
  while (1)
  {
  }
}
